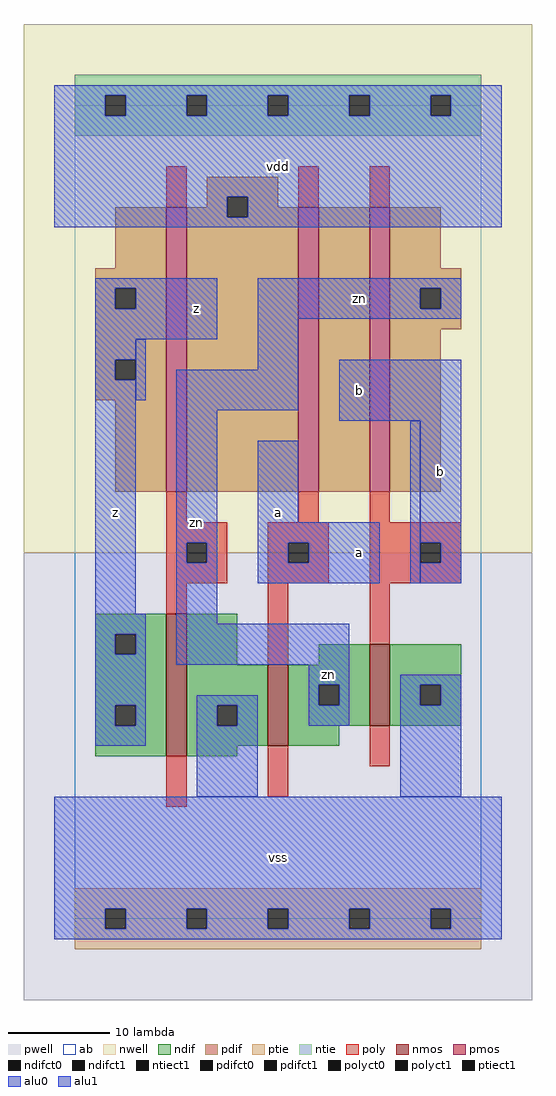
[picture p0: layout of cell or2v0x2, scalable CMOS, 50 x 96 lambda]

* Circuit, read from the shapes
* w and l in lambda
.subckt or2v0x2 a b vdd vss z zn
M1 vss zn z vss nfet w=14 l=2
M2 zn a vss vss nfet w=8 l=2
M3 vss b zn vss nfet w=8 l=2
M4 vdd zn z vdd pfet w=28 l=2
M5 n1 a vdd vdd pfet w=28 l=2
M6 zn b n1 vdd pfet w=28 l=2
.ends

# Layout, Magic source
magic
tech scmos
<< ab >>
rect 0 0 40 80
<< nwell >>
rect -5 36 45 88
<< pwell >>
rect -5 -8 45 36
<< poly >>
rect 9 70 11 74
rect 22 70 24 74
rect 29 70 31 74
rect 9 39 11 42
rect 22 39 24 42
rect 29 39 31 42
rect 9 37 15 39
rect 9 35 11 37
rect 13 35 15 37
rect 9 33 15 35
rect 19 37 25 39
rect 19 35 21 37
rect 23 35 25 37
rect 19 33 25 35
rect 29 37 38 39
rect 29 35 34 37
rect 36 35 38 37
rect 29 33 38 35
rect 9 30 11 33
rect 19 25 21 33
rect 29 27 31 33
rect 9 11 11 16
rect 19 12 21 17
rect 29 15 31 19
<< ndif >>
rect 2 28 9 30
rect 2 26 4 28
rect 6 26 9 28
rect 2 21 9 26
rect 2 19 4 21
rect 6 19 9 21
rect 2 16 9 19
rect 11 25 16 30
rect 24 25 29 27
rect 11 21 19 25
rect 11 19 14 21
rect 16 19 19 21
rect 11 17 19 19
rect 21 23 29 25
rect 21 21 24 23
rect 26 21 29 23
rect 21 19 29 21
rect 31 23 38 27
rect 31 21 34 23
rect 36 21 38 23
rect 31 19 38 21
rect 21 17 26 19
rect 11 16 16 17
<< pdif >>
rect 13 71 20 73
rect 13 70 15 71
rect 4 64 9 70
rect 2 62 9 64
rect 2 60 4 62
rect 6 60 9 62
rect 2 55 9 60
rect 2 53 4 55
rect 6 53 9 55
rect 2 51 9 53
rect 4 42 9 51
rect 11 69 15 70
rect 17 70 20 71
rect 17 69 22 70
rect 11 42 22 69
rect 24 42 29 70
rect 31 64 36 70
rect 31 62 38 64
rect 31 60 34 62
rect 36 60 38 62
rect 31 58 38 60
rect 31 42 36 58
<< alu1 >>
rect -2 81 42 82
rect -2 79 3 81
rect 5 79 11 81
rect 13 79 19 81
rect 21 79 27 81
rect 29 79 35 81
rect 37 79 42 81
rect -2 71 42 79
rect -2 69 15 71
rect 17 69 42 71
rect -2 68 42 69
rect 2 62 14 63
rect 2 60 4 62
rect 6 60 14 62
rect 2 57 14 60
rect 2 55 6 57
rect 2 53 4 55
rect 2 30 6 53
rect 26 49 38 55
rect 2 28 7 30
rect 2 26 4 28
rect 6 26 7 28
rect 2 21 7 26
rect 18 39 22 47
rect 18 37 30 39
rect 18 35 21 37
rect 23 35 30 37
rect 18 33 30 35
rect 34 37 38 49
rect 36 35 38 37
rect 34 33 38 35
rect 2 19 4 21
rect 6 19 7 21
rect 2 17 7 19
rect -2 1 42 12
rect -2 -1 3 1
rect 5 -1 11 1
rect 13 -1 19 1
rect 21 -1 27 1
rect 29 -1 35 1
rect 37 -1 42 1
rect -2 -2 42 -1
<< ptie >>
rect 0 1 40 3
rect 0 -1 3 1
rect 5 -1 11 1
rect 13 -1 19 1
rect 21 -1 27 1
rect 29 -1 35 1
rect 37 -1 40 1
rect 0 -3 40 -1
<< ntie >>
rect 0 81 40 83
rect 0 79 3 81
rect 5 79 11 81
rect 13 79 19 81
rect 21 79 27 81
rect 29 79 35 81
rect 37 79 40 81
rect 0 77 40 79
<< nmos >>
rect 9 16 11 30
rect 19 17 21 25
rect 29 19 31 27
<< pmos >>
rect 9 42 11 70
rect 22 42 24 70
rect 29 42 31 70
<< polyct0 >>
rect 11 35 13 37
<< polyct1 >>
rect 21 35 23 37
rect 34 35 36 37
<< ndifct0 >>
rect 14 19 16 21
rect 24 21 26 23
rect 34 21 36 23
<< ndifct1 >>
rect 4 26 6 28
rect 4 19 6 21
<< ntiect1 >>
rect 3 79 5 81
rect 11 79 13 81
rect 19 79 21 81
rect 27 79 29 81
rect 35 79 37 81
<< ptiect1 >>
rect 3 -1 5 1
rect 11 -1 13 1
rect 19 -1 21 1
rect 27 -1 29 1
rect 35 -1 37 1
<< pdifct0 >>
rect 34 60 36 62
<< pdifct1 >>
rect 4 60 6 62
rect 4 53 6 55
rect 15 69 17 71
<< alu0 >>
rect 18 62 38 63
rect 18 60 34 62
rect 36 60 38 62
rect 18 59 38 60
rect 6 51 7 57
rect 18 54 22 59
rect 10 50 22 54
rect 10 37 14 50
rect 10 35 11 37
rect 13 35 14 37
rect 10 29 14 35
rect 33 33 34 49
rect 10 25 27 29
rect 23 23 27 25
rect 12 21 18 22
rect 12 19 14 21
rect 16 19 18 21
rect 23 21 24 23
rect 26 21 27 23
rect 23 19 27 21
rect 32 23 38 24
rect 32 21 34 23
rect 36 21 38 23
rect 12 12 18 19
rect 32 12 38 21
<< labels >>
rlabel alu0 12 39 12 39 6 zn
rlabel alu0 25 24 25 24 6 zn
rlabel alu0 28 61 28 61 6 zn
rlabel alu1 4 40 4 40 6 z
rlabel alu1 12 60 12 60 6 z
rlabel alu1 20 6 20 6 6 vss
rlabel alu1 28 36 28 36 6 a
rlabel alu1 20 40 20 40 6 a
rlabel alu1 28 52 28 52 6 b
rlabel alu1 20 74 20 74 6 vdd
rlabel alu1 36 44 36 44 6 b
<< end >>
